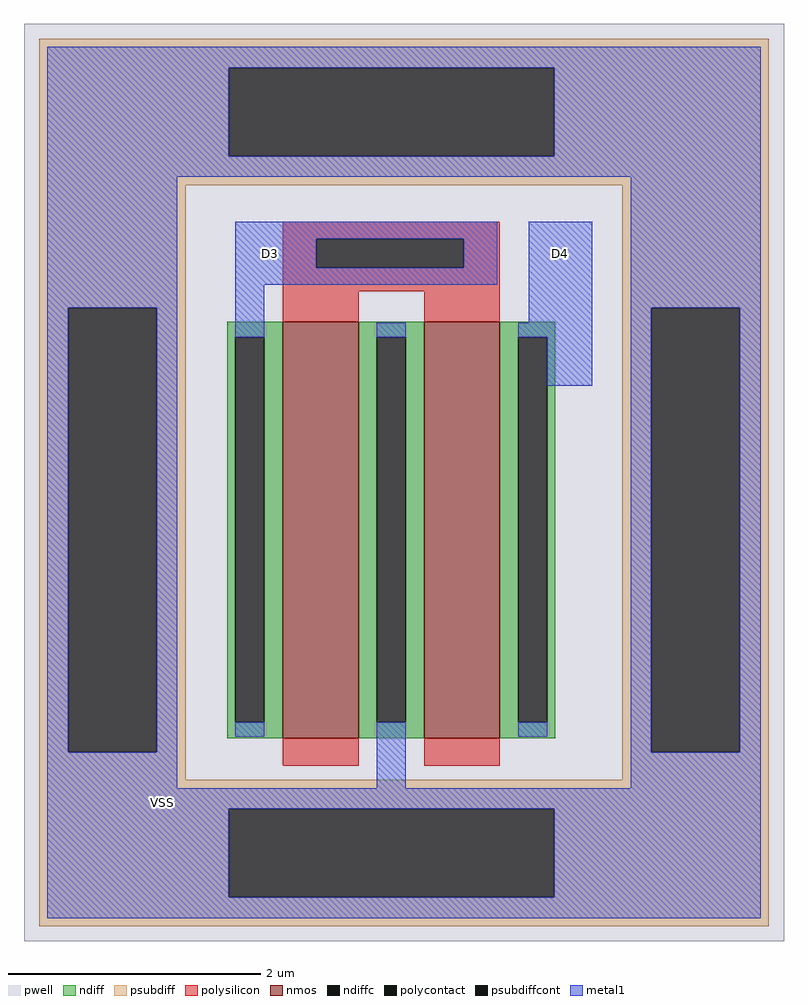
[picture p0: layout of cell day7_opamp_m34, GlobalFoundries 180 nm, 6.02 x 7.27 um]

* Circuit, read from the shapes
.subckt day7_opamp_m34 D3 D4 VSS
XM1 VSS D3 D3 VSS nfet_03v3 w=3.3u l=0.6u
XM2 D4 D3 VSS VSS nfet_03v3 w=3.3u l=0.6u
.ends

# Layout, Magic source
magic
tech gf180mcuD
magscale 1 10
<< pwell >>
rect 1420 -840 2624 614
<< nmos >>
rect 1830 -518 1950 142
rect 2054 -518 2174 142
<< ndiff >>
rect 1742 117 1830 142
rect 1742 -493 1755 117
rect 1801 -493 1830 117
rect 1742 -518 1830 -493
rect 1950 117 2054 142
rect 1950 -493 1979 117
rect 2025 -493 2054 117
rect 1950 -518 2054 -493
rect 2174 117 2262 142
rect 2174 -493 2203 117
rect 2249 -493 2262 117
rect 2174 -518 2262 -493
<< ndiffc >>
rect 1755 -493 1801 117
rect 1979 -493 2025 117
rect 2203 -493 2249 117
<< psubdiff >>
rect 1444 544 2600 590
rect 1444 404 1744 544
rect 2260 404 2600 544
rect 1444 358 2600 404
rect 1444 164 1676 358
rect 1444 -540 1490 164
rect 1630 -540 1676 164
rect 2368 164 2600 358
rect 1444 -584 1676 -540
rect 2368 -540 2414 164
rect 2554 -540 2600 164
rect 2368 -584 2600 -540
rect 1444 -630 2600 -584
rect 1444 -770 1744 -630
rect 2260 -770 2600 -630
rect 1444 -816 2600 -770
<< psubdiffcont >>
rect 1744 404 2260 544
rect 1490 -540 1630 164
rect 2414 -540 2554 164
rect 1744 -770 2260 -630
<< polysilicon >>
rect 1830 273 2174 300
rect 1830 227 1883 273
rect 2117 227 2174 273
rect 1830 190 2174 227
rect 1830 142 1950 190
rect 2054 142 2174 190
rect 1830 -562 1950 -518
rect 2054 -562 2174 -518
<< polycontact >>
rect 1883 227 2117 273
<< metal1 >>
rect 1457 544 2587 577
rect 1457 404 1744 544
rect 2260 404 2587 544
rect 1457 371 2587 404
rect 1457 164 1663 371
rect 1457 -540 1490 164
rect 1630 -540 1663 164
rect 1755 273 2170 300
rect 1755 227 1883 273
rect 2117 227 2170 273
rect 1755 200 2170 227
rect 1755 117 1801 200
rect 2220 140 2320 300
rect 1755 -516 1801 -493
rect 1979 117 2025 140
rect 1457 -597 1663 -540
rect 1979 -597 2025 -493
rect 2203 117 2320 140
rect 2249 40 2320 117
rect 2381 164 2587 371
rect 2203 -516 2249 -493
rect 2381 -540 2414 164
rect 2554 -540 2587 164
rect 2381 -597 2587 -540
rect 1457 -630 2587 -597
rect 1457 -770 1744 -630
rect 2260 -770 2587 -630
rect 1457 -803 2587 -770
<< labels >>
flabel metal1 s 1760 200 1860 300 0 FreeSans 2000 0 0 0 D3
port 1 nsew
flabel metal1 s 2220 200 2320 300 0 FreeSans 2000 0 0 0 D4
port 2 nsew
flabel metal1 s 1620 -640 1660 -600 0 FreeSans 2000 0 0 0 VSS
port 3 nsew
<< end >>
